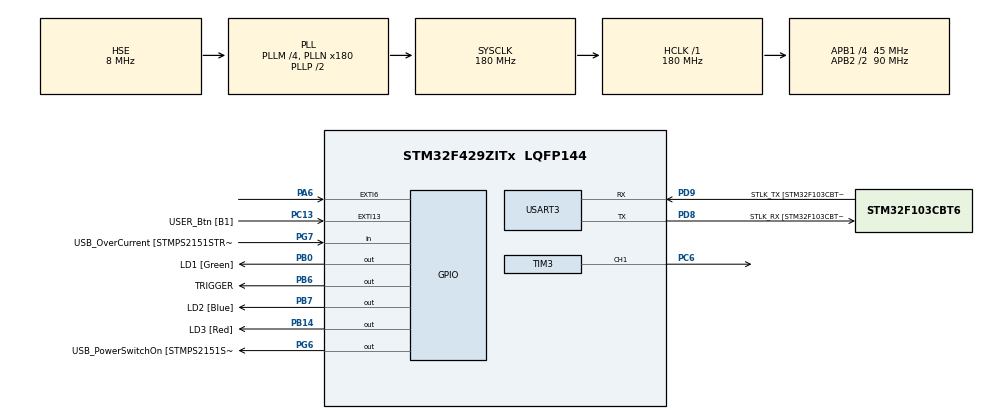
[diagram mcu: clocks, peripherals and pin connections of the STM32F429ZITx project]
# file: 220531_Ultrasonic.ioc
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Mcu.Family=STM32F4
Mcu.Name=STM32F429ZITx
Mcu.Package=LQFP144
NVIC.EXTI9_5_IRQn=true\:0\:0\:false\:false\:true\:true\:true\:true
NVIC.PriorityGroup=NVIC_PRIORITYGROUP_4
PA1.GPIO_Label=RMII_REF_CLK [LAN8742A-CZ-TR_REFCLK0]
PA1.Signal=ETH_REF_CLK
PA10.GPIO_Label=USB_ID
PA10.Signal=USB_OTG_FS_ID
PA11.GPIO_Label=USB_DM
PA11.Signal=USB_OTG_FS_DM
PA12.GPIO_Label=USB_DP
PA12.Signal=USB_OTG_FS_DP
PA13.GPIO_Label=TMS
PA13.Signal=SYS_JTMS-SWDIO
PA14.GPIO_Label=TCK
PA14.Signal=SYS_JTCK-SWCLK
PA2.GPIO_Label=RMII_MDIO [LAN8742A-CZ-TR_MDIO]
PA2.Signal=ETH_MDIO
PA6.GPIO_ModeDefaultEXTI=GPIO_MODE_IT_RISING_FALLING
PA6.GPIO_PuPd=GPIO_PULLDOWN
PA6.Signal=GPXTI6
PA7.GPIO_Label=RMII_CRS_DV [LAN8742A-CZ-TR_CRS_DV]
PA7.Signal=ETH_CRS_DV
PA8.GPIO_Label=USB_SOF [TP1]
PA8.Signal=USB_OTG_FS_SOF
PA9.GPIO_Label=USB_VBUS
PA9.Signal=USB_OTG_FS_VBUS
PB0.GPIO_Label=LD1 [Green]
PB0.Signal=GPIO_Output
PB13.GPIO_Label=RMII_TXD1 [LAN8742A-CZ-TR_TXD1]
PB13.Signal=ETH_TXD1
PB14.GPIO_Label=LD3 [Red]
PB14.Signal=GPIO_Output
PB6.GPIO_Label=TRIGGER
PB6.Signal=GPIO_Output
PB7.GPIO_Label=LD2 [Blue]
PB7.Signal=GPIO_Output
PC1.GPIO_Label=RMII_MDC [LAN8742A-CZ-TR_MDC]
PC1.Signal=ETH_MDC
PC13.GPIO_Label=USER_Btn [B1]
PC13.Signal=GPXTI13
PC14/OSC32_IN.Mode=LSE-External-Oscillator
PC14/OSC32_IN.Signal=RCC_OSC32_IN
PC15/OSC32_OUT.Mode=LSE-External-Oscillator
PC15/OSC32_OUT.Signal=RCC_OSC32_OUT
PC4.GPIO_Label=RMII_RXD0 [LAN8742A-CZ-TR_RXD0]
PC4.Signal=ETH_RXD0
PC5.GPIO_Label=RMII_RXD1 [LAN8742A-CZ-TR_RXD1]
PC5.Signal=ETH_RXD1
PC6.Signal=S_TIM3_CH1
PD8.GPIO_Label=STLK_RX [STM32F103CBT6_PA3]
PD8.Mode=Asynchronous
PD8.Signal=USART3_TX
PD9.GPIO_Label=STLK_TX [STM32F103CBT6_PA2]
PD9.Mode=Asynchronous
PD9.Signal=USART3_RX
PG11.GPIO_Label=RMII_TX_EN [LAN8742A-CZ-TR_TXEN]
PG11.Signal=ETH_TX_EN
PG13.GPIO_Label=RMII_TXD0 [LAN8742A-CZ-TR_TXD0]
PG13.Signal=ETH_TXD0
PG6.GPIO_Label=USB_PowerSwitchOn [STMPS2151STR_EN]
PG6.Signal=GPIO_Output
PG7.GPIO_Label=USB_OverCurrent [STMPS2151STR_FAULT]
PG7.Signal=GPIO_Input
PH0/OSC_IN.GPIO_Label=MCO [STM32F103CBT6_PA8]
PH0/OSC_IN.Mode=HSE-External-Clock-Source
PH0/OSC_IN.Signal=RCC_OSC_IN
PH1/OSC_OUT.Mode=HSE-External-Clock-Source
PH1/OSC_OUT.Signal=RCC_OSC_OUT
ProjectManager.HeapSize=0x200
ProjectManager.StackSize=0x400
ProjectManager.TargetToolchain=STM32CubeIDE
RCC.48MHZClocksFreq_Value=90000000
RCC.AHBFreq_Value=180000000
RCC.APB1CLKDivider=RCC_HCLK_DIV4
RCC.APB1Freq_Value=45000000
RCC.APB1TimFreq_Value=90000000
RCC.APB2CLKDivider=RCC_HCLK_DIV2
RCC.APB2Freq_Value=90000000
RCC.APB2TimFreq_Value=180000000
RCC.CortexFreq_Value=180000000
RCC.HCLKFreq_Value=180000000
RCC.HSE_VALUE=8000000
RCC.HSI_VALUE=16000000
RCC.PLLM=4
RCC.PLLMUL=RCC_PLL_MUL9
RCC.PLLN=180
RCC.PLLSourceVirtual=RCC_PLLSOURCE_HSE
RCC.PRESCALERUSB=RCC_USBCLKSOURCE_PLL_DIV1_5
RCC.SYSCLKFreq_VALUE=180000000
RCC.SYSCLKSource=RCC_SYSCLKSOURCE_PLLCLK
RCC.SYSCLKSourceVirtual=RCC_SYSCLKSOURCE_PLLCLK
RCC.USBFreq_Value=48000000
RCC.VCOOutputFreq_Value=360000000
SH.S_TIM3_CH1.0=TIM3_CH1,Output Compare1 CH1
TIM3.Channel-Output\ Compare1\ CH1=TIM_CHANNEL_1
TIM3.Period=0xffff
TIM3.Prescaler=90-1
USART3.VirtualMode=VM_ASYNC
VP_TIM3_VS_ClockSourceINT.Mode=Internal
board=NUCLEO-F429ZI

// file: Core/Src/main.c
/* USER CODE BEGIN Header */
/**
  ******************************************************************************
  * @file           : main.c
  * @brief          : Main program body
  ******************************************************************************
  * @attention
  *
  * Copyright (c) 2022 STMicroelectronics.
  * All rights reserved.
  *
  * This software is licensed under terms that can be found in the LICENSE file
  * in the root directory of this software component.
  * If no LICENSE file comes with this software, it is provided AS-IS.
  *
  ******************************************************************************
  */
/* USER CODE END Header */
#include "main.h"
#include "tim.h"
#include "usart.h"
#include "gpio.h"

/* USER CODE BEGIN Includes */
#include "stdio.h"
/* USER CODE END Includes */

/* USER CODE BEGIN PV */
volatile uint8_t echo_time_Flag = 0;
uint16_t distance = 0;
/* USER CODE END PV */

void SystemClock_Config(void);
/* USER CODE BEGIN PFP */
int _write(int file, char* p, int len);
void delay_us(uint16_t us);
void startTrigger(void);
/* USER CODE END PFP */

int main(void)
{

  /* MCU Configuration--------------------------------------------------------*/

  /* Reset of all peripherals, Initializes the Flash interface and the Systick. */
  HAL_Init();

  /* Configure the system clock */
  SystemClock_Config();

  /* Initialize all configured peripherals */
  MX_GPIO_Init();
  MX_TIM3_Init();
  MX_USART3_UART_Init();
  /* USER CODE BEGIN 2 */
  HAL_TIM_Base_Start(&htim3);
  /* USER CODE END 2 */

  /* Infinite loop */
  /* USER CODE BEGIN WHILE */
  while (1)
  {
//	  GPIOB->ODR ^= (1 << 7);
//	  for(uint8_t i=0; i < 50; i++)
//	  {
//		  delay_us(10000); // 0.1
//	  }
	startTrigger();
	printf("Distance : %d\r\n", distance);
	HAL_Delay(100);
    /* USER CODE END WHILE */

  }
}

void SystemClock_Config(void)
{
  RCC_OscInitTypeDef RCC_OscInitStruct = {0};
  RCC_ClkInitTypeDef RCC_ClkInitStruct = {0};

  /** Configure the main internal regulator output voltage
  */
  __HAL_RCC_PWR_CLK_ENABLE();
  __HAL_PWR_VOLTAGESCALING_CONFIG(PWR_REGULATOR_VOLTAGE_SCALE1);

  /** Initializes the RCC Oscillators according to the specified parameters
  * in the RCC_OscInitTypeDef structure.
  */
  RCC_OscInitStruct.OscillatorType = RCC_OSCILLATORTYPE_HSE;
  RCC_OscInitStruct.HSEState = RCC_HSE_BYPASS;
  RCC_OscInitStruct.PLL.PLLState = RCC_PLL_ON;
  RCC_OscInitStruct.PLL.PLLSource = RCC_PLLSOURCE_HSE;
  RCC_OscInitStruct.PLL.PLLM = 4;
  RCC_OscInitStruct.PLL.PLLN = 180;
  RCC_OscInitStruct.PLL.PLLP = RCC_PLLP_DIV2;
  RCC_OscInitStruct.PLL.PLLQ = 4;
  if (HAL_RCC_OscConfig(&RCC_OscInitStruct) != HAL_OK)
  {
    Error_Handler();
  }

  /** Activate the Over-Drive mode
  */
  if (HAL_PWREx_EnableOverDrive() != HAL_OK)
  {
    Error_Handler();
  }

  /** Initializes the CPU, AHB and APB buses clocks
  */
  RCC_ClkInitStruct.ClockType = RCC_CLOCKTYPE_HCLK|RCC_CLOCKTYPE_SYSCLK
                              |RCC_CLOCKTYPE_PCLK1|RCC_CLOCKTYPE_PCLK2;
  RCC_ClkInitStruct.SYSCLKSource = RCC_SYSCLKSOURCE_PLLCLK;
  RCC_ClkInitStruct.AHBCLKDivider = RCC_SYSCLK_DIV1;
  RCC_ClkInitStruct.APB1CLKDivider = RCC_HCLK_DIV4;
  RCC_ClkInitStruct.APB2CLKDivider = RCC_HCLK_DIV2;

  if (HAL_RCC_ClockConfig(&RCC_ClkInitStruct, FLASH_LATENCY_5) != HAL_OK)
  {
    Error_Handler();
  }
}

/* USER CODE BEGIN 4 */
void HAL_GPIO_EXTI_Callback(uint16_t GPIO_Pin)
{
	static uint32_t rising_time;
	static uint32_t falling_time;
	if(GPIO_Pin == GPIO_PIN_6)
	{
		// rising
		if(echo_time_Flag == 1)
		{

			falling_time = __HAL_TIM_GET_COUNTER(&htim3);
//			falling_time = HAL_GetTick();	// -> milliseconds
			echo_time_Flag = 0;
//			printf("falling %d\r\n", falling_time);
		}
		else
		{
			__HAL_TIM_SET_COUNTER(&htim3, 0);
//			rising_time = HAL_GetTick();

			echo_time_Flag = 1;
//			printf("rising %d\r\n", rising_time);
		}
	}

	if(rising_time < falling_time)
	{
//		printf("Get result\r\n");
//		uint16_t width = falling_time - rising_time;
		uint16_t width = falling_time;
		distance = width / 58;

	}
}

void startTrigger(void)
{
	GPIOB->ODR &= ~(1 << 6);
	delay_us(2);
	GPIOB->ODR |= (1 << 6);
	delay_us(11);
	GPIOB->ODR &= ~(1 << 6);
	printf("Trigger On\r\n");
}

int _write(int file, char* p, int len)
{
	if(HAL_UART_Transmit(&huart3, (uint8_t *)p, len, 10) == HAL_OK) return len;
	else return -1;
}

void delay_us(uint16_t us)
{
	__HAL_TIM_SET_COUNTER(&htim3, 0);
	while(__HAL_TIM_GET_COUNTER(&htim3) < us);
}
/* USER CODE END 4 */

void Error_Handler(void)
{
  __disable_irq();
  while (1)
  {
  }
}
